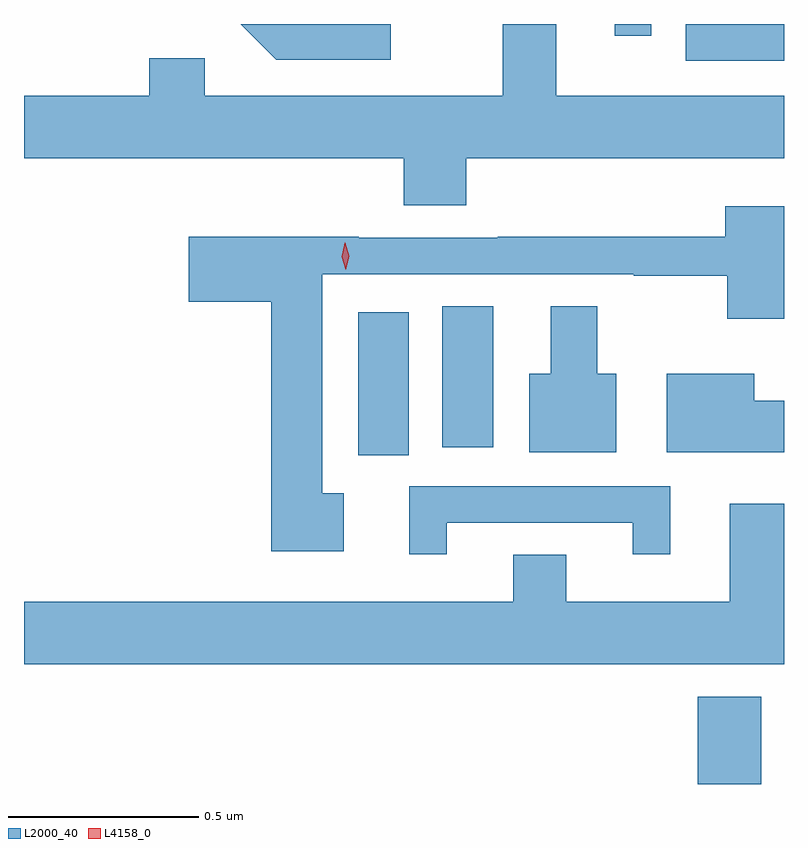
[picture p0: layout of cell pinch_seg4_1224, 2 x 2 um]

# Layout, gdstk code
import gdstk
lib = gdstk.Library(unit=1e-6, precision=1e-09)
def R(c, l, rs):  # rectangles x0, y0, x1, y1
    for r in rs: c.add(gdstk.rectangle(r[:2], r[2:], *l))
def P(c, l, *ps):  # polygons
    for p in ps: c.add(gdstk.Polygon(p, *l))
L2000_40 = (2000, 40)
L4158_0 = (4158, 0)

pinch_seg4_1224 = lib.new_cell('pinch_seg4_1224')
R(pinch_seg4_1224, L2000_40, [(529.442,787.181,529.609,787.411), (528.548,788.046,528.682,788.422), (528.77,788.067,528.904,788.438), (529.223,789.15,529.319,789.181)])
P(pinch_seg4_1224, L2000_40, [(528.634,789.181),(528.24,789.181),(528.333,789.087),(528.634,789.087)],
  [(529.669,789.18),(529.506,789.18),(529.506,789.181),(529.41,789.181),(529.41,789.084),(529.669,789.084)],
  [(528.833,788.828),(529.669,788.828),(529.669,788.992),(529.069,788.992),(529.069,789.181),(528.929,789.181),(528.929,788.992),(528.145,788.992),(528.145,789.091),(527.998,789.091),(527.998,788.992),(527.669,788.992),(527.669,788.828),(528.668,788.828),(528.668,788.704),(528.833,788.704)],
  [(528.511,787.946),(528.454,787.946),(528.454,788.523),(529.273,788.523),(529.273,788.518),(529.519,788.518),(529.519,788.406),(529.669,788.406),(529.669,788.701),(529.514,788.701),(529.514,788.621),(528.916,788.621),(528.916,788.619),(528.55,788.619),(528.55,788.621),(528.102,788.621),(528.102,788.45),(528.32,788.45),(528.32,787.793),(528.511,787.793)],
  [(529.228,788.26),(529.177,788.26),(529.177,788.438),(529.055,788.438),(529.055,788.26),(528.998,788.26),(528.998,788.054),(529.228,788.054)],
  [(529.669,788.189),(529.591,788.189),(529.591,788.26),(529.361,788.26),(529.361,788.054),(529.669,788.054)],
  [(528.781,787.869),(529.271,787.869),(529.271,787.785),(529.369,787.785),(529.369,787.965),(528.683,787.965),(528.683,787.785),(528.781,787.785)],
  [(529.669,787.918),(529.526,787.918),(529.526,787.66),(529.096,787.66),(529.096,787.784),(528.956,787.784),(528.956,787.66),(527.669,787.66),(527.669,787.496),(529.669,787.496)])
P(pinch_seg4_1224, L4158_0, [(528.516,788.534),(528.516,788.534),(528.505,788.569),(528.513,788.606),(528.513,788.606),(528.514,788.606),(528.525,788.57),(528.516,788.534)])

lib.write_gds('pinch_seg4_1224.gds')
